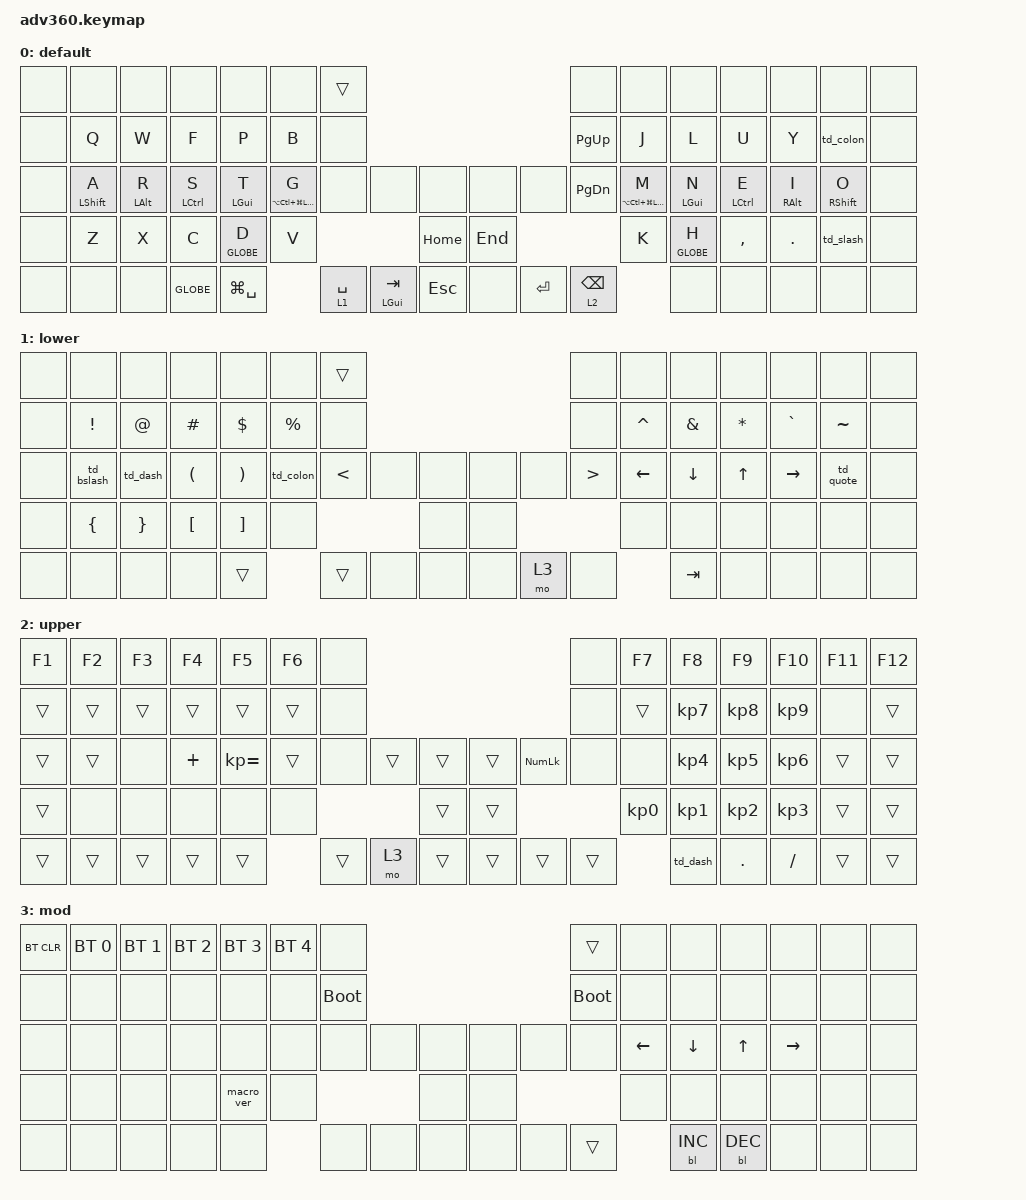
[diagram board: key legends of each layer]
#include <behaviors.dtsi>
#include <dt-bindings/zmk/backlight.h>
#include <dt-bindings/zmk/bt.h>
#include <dt-bindings/zmk/keys.h>

/ {
    behaviors {
        #include "macros.dtsi"
      #include "version.dtsi"
      #ifndef VERSION_MACRO

        macro_ver: macro_ver {
            compatible = "zmk,behavior-macro";
            label = "macro_version";
            #binding-cells = <0>;
            bindings = <&kp RET>;
        };

        vimesc: vimesc {
            compatible = "zmk,behavior-macro";
            #binding-cells = <0>;
            bindings = <&kp ESCAPE &kp COLON>;
            label = "VIMESC";
        };

        #endif

        hm: homerow_mods {
            compatible = "zmk,behavior-hold-tap";
            label = "HOMEROW_MODS";
            #binding-cells = <2>;
            tapping-term-ms = <200>;
            quick_tap_ms = <175>;
            flavor = "tap-preferred";
            bindings = <&kp>, <&kp>;
        };

        hml: hml {
            compatible = "zmk,behavior-hold-tap";
            label = "HML";
            bindings = <&kp>, <&kp>;

            #binding-cells = <2>;
            tapping-term-ms = <200>;
            quick-tap-ms = <150>;
            flavor = "balanced";
            hold-trigger-key-positions = <0 1 2 3 4 5 6 14 15 16 17 18 19 20 28 29 30 31 32 33 34 35 36 46 47 48 49 50 51 52 60 61 62 63 64 65 66 67 37 38 53 68 69 70>;
            hold-while-undecided;
        };

        hmr: hmr {
            compatible = "zmk,behavior-hold-tap";
            label = "HMR";
            bindings = <&kp>, <&kp>;

            #binding-cells = <2>;
            tapping-term-ms = <250>;
            quick-tap-ms = <150>;
            flavor = "balanced";
            hold-trigger-on-release;
            hold-trigger-key-positions = <7 8 9 10 11 12 13 21 22 23 24 25 26 27 39 40 41 42 43 44 45 54 55 56 57 58 59 71 72 73 74 75>;
            hold-while-undecided;
        };

        td_quote: td_quote {
            compatible = "zmk,behavior-tap-dance";
            label = "TD_QUOTE";
            #binding-cells = <0>;
            bindings = <&kp SQT>, <&kp DOUBLE_QUOTES>;
        };

        td_backspace: td_backspace {
            compatible = "zmk,behavior-tap-dance";
            label = "TD_BACKSPACE";
            #binding-cells = <0>;
            bindings = <&kp BACKSPACE>, <&kp LA(BACKSPACE)>;

            tapping-term-ms = <300>;
        };

        layer_kp: layer_kp {
            compatible = "zmk,behavior-hold-tap";
            label = "LAYER_KP";
            bindings = <&mo>, <&kp>;

            #binding-cells = <2>;
            tapping-term-ms = <300>;
            hold-trigger-key-positions = <65>;
            hold-trigger-on-release;
            flavor = "balanced";
            quick-tap-ms = <180>;
        };

        td_bslash: td_bslash {
            compatible = "zmk,behavior-tap-dance";
            label = "TD_BSLASH";
            #binding-cells = <0>;
            tapping-term-ms = <300>;
            bindings = <&kp BACKSLASH>, <&kp LS(BACKSLASH)>;
        };

        td_dash: td_dash {
            compatible = "zmk,behavior-tap-dance";
            label = "TD_DASH";
            #binding-cells = <0>;
            tapping-term-ms = <300>;
            bindings = <&kp MINUS>, <&kp LS(MINUS)>;
        };

        bs_cmdbs: bs_cmdbs {
            compatible = "zmk,behavior-tap-dance";
            label = "BS_CMDBS";
            #binding-cells = <0>;
            bindings = <&kp A>, <&kp LG(BACKSPACE)>;
        };

        td_colon: td_colon {
            compatible = "zmk,behavior-tap-dance";
            label = "TD_COLON";
            #binding-cells = <0>;
            bindings = <&kp SEMICOLON>, <&kp COLON>;

            tapping-term-ms = <180>;
        };

        td_slash: td_slash {
            compatible = "zmk,behavior-tap-dance";
            label = "TD_SLASH";
            #binding-cells = <0>;
            tapping-term-ms = <180>;
            bindings = <&kp SLASH>, <&kp QUESTION>;
        };
    };

    macros {
    };

    combos {
        compatible = "zmk,combos";

        sleep {
            bindings = <&kp LG(LA(K_SLEEP))>;
            key-positions = <67 68>;
        };

        minus {
            bindings = <&kp MINUS>;
            key-positions = <17 24>;
        };

        underscore {
            bindings = <&kp LS(MINUS)>;
            key-positions = <18 23>;
        };

        lshift {
            bindings = <&kp LEFT_SHIFT>;
            key-positions = <29 30>;
        };

        rshift {
            bindings = <&kp RIGHT_SHIFT>;
            key-positions = <44 43>;
        };
    };

    keymap {
        compatible = "zmk,keymap";

        default {
            bindings = <
&none  &none              &none            &none                &none            &none                          &trans                                                                   &none            &none                          &none            &none                &none             &none               &none
&none  &kp Q              &kp W            &kp F                &kp P            &kp B                          &none                                                                    &kp PAGE_UP      &kp J                          &kp L            &kp U                &kp Y             &td_colon           &none
&none  &hml LEFT_SHIFT A  &hml LEFT_ALT R  &hml LEFT_CONTROL S  &hml LEFT_GUI T  &hml LA(LC(LG(LEFT_SHIFT))) G  &none              &none             &none           &none    &none      &kp PAGE_DOWN    &hmr LA(LC(LG(LEFT_SHIFT))) M  &hmr LEFT_GUI N  &hmr LEFT_CONTROL E  &hmr RIGHT_ALT I  &hmr RIGHT_SHIFT O  &none
&none  &kp Z              &kp X            &kp C                &hml GLOBE D     &kp V                                                               &kp HOME        &kp END                              &kp K                          &hmr GLOBE H     &kp COMMA            &kp PERIOD        &td_slash           &none
&none  &none              &none            &kp GLOBE            &kp LG(SPACE)                                   &layer_kp 1 SPACE  &mt LEFT_GUI TAB  &kp ESCAPE      &none    &kp ENTER  &lt 2 BACKSPACE                                 &none            &none                &none             &none               &none
            >;
        };

        lower {
            bindings = <
&none  &none           &none            &none                 &none                  &none        &trans                                         &none             &none           &none           &none         &none            &none      &none
&none  &kp EXCL        &kp AT_SIGN      &kp HASH              &kp DOLLAR             &kp PERCENT  &none                                          &none             &kp CARET       &kp AMPERSAND   &kp STAR      &kp GRAVE        &kp TILDE  &none
&none  &td_bslash      &td_dash         &kp LEFT_PARENTHESIS  &kp RIGHT_PARENTHESIS  &td_colon    &kp LESS_THAN  &none  &none      &none  &none  &kp GREATER_THAN  &kp LEFT_ARROW  &kp DOWN_ARROW  &kp UP_ARROW  &kp RIGHT_ARROW  &td_quote  &none
&none  &kp LEFT_BRACE  &kp RIGHT_BRACE  &kp LEFT_BRACKET      &kp RIGHT_BRACKET      &none                              &none      &none                           &none           &none           &none         &none            &none      &none
&none  &none           &none            &none                 &trans                              &trans         &none  &none      &none  &mo 3  &none                             &kp TAB         &none         &none            &none      &none
            >;
        };

        upper {
            bindings = <
&kp F1  &kp F2  &kp F3  &kp F4    &kp F5        &kp F6  &none                                               &none   &kp F7           &kp F8           &kp F9           &kp F10          &kp F11  &kp F12
&trans  &trans  &trans  &trans    &trans        &trans  &none                                               &none   &trans           &kp KP_NUMBER_7  &kp KP_NUMBER_8  &kp KP_NUMBER_9  &none    &trans
&trans  &trans  &none   &kp PLUS  &kp KP_EQUAL  &trans  &none   &trans  &trans      &trans  &kp KP_NUMLOCK  &none   &none            &kp KP_NUMBER_4  &kp KP_NUMBER_5  &kp KP_NUMBER_6  &trans   &trans
&trans  &none   &none   &none     &none         &none                   &trans      &trans                          &kp KP_NUMBER_0  &kp KP_NUMBER_1  &kp KP_NUMBER_2  &kp KP_NUMBER_3  &trans   &trans
&trans  &trans  &trans  &trans    &trans                &trans  &mo 3   &trans      &trans  &trans          &trans                   &td_dash         &kp PERIOD       &kp SLASH        &trans   &trans
            >;
        };

        mod {
            bindings = <
&bt BT_CLR  &bt BT_SEL 0  &bt BT_SEL 1  &bt BT_SEL 2  &bt BT_SEL 3  &bt BT_SEL 4  &none                                        &trans       &none     &none       &none         &none      &none  &none
&none       &none         &none         &none         &none         &none         &bootloader                                  &bootloader  &none     &none       &none         &none      &none  &none
&none       &none         &none         &none         &none         &none         &none        &none  &none      &none  &none  &none        &kp LEFT  &kp DOWN    &kp UP_ARROW  &kp RIGHT  &none  &none
&none       &none         &none         &none         &macro_ver    &none                             &none      &none                      &none     &none       &none         &none      &none  &none
&none       &none         &none         &none         &none                       &none        &none  &none      &none  &none  &trans                 &bl BL_INC  &bl BL_DEC    &none      &none  &none
            >;
        };
    };
};
